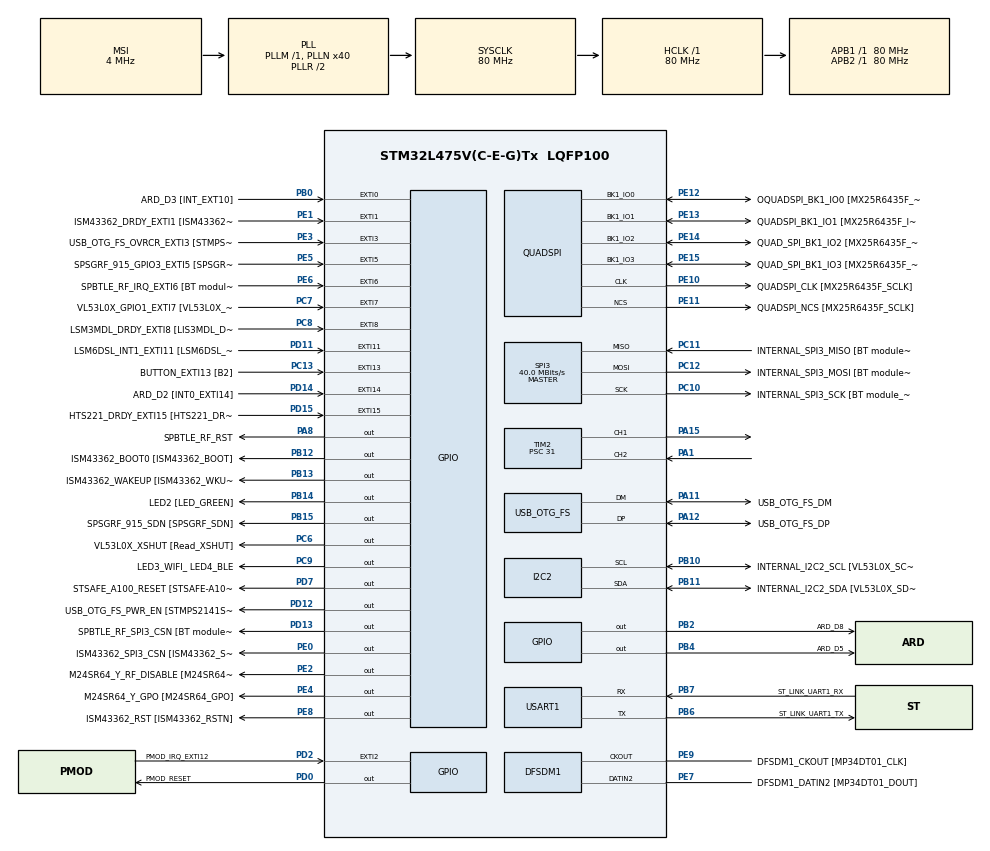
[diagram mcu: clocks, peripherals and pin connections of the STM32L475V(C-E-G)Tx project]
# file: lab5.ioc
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I2C2.Timing=0x10D19CE4
Mcu.Family=STM32L4
Mcu.Name=STM32L475V(C-E-G)Tx
Mcu.Package=LQFP100
NVIC.EXTI15_10_IRQn=true\:0\:0\:false\:false\:true\:true\:true\:true
NVIC.EXTI9_5_IRQn=true\:0\:0\:false\:false\:true\:true\:true\:true
NVIC.PriorityGroup=NVIC_PRIORITYGROUP_4
NVIC.TIM2_IRQn=true\:0\:0\:false\:false\:true\:true\:true\:true
PA1.Signal=S_TIM2_CH2
PA10.GPIO_Label=USB_OTG_FS_ID
PA10.Signal=USB_OTG_FS_ID
PA11.GPIO_Label=USB_OTG_FS_DM
PA11.Mode=Device_Only
PA11.Signal=USB_OTG_FS_DM
PA12.GPIO_Label=USB_OTG_FS_DP
PA12.Mode=Device_Only
PA12.Signal=USB_OTG_FS_DP
PA13\ (JTMS-SWDIO).GPIO_Label=SYS_JTMS_SWDIO
PA13\ (JTMS-SWDIO).Mode=Serial_Wire
PA13\ (JTMS-SWDIO).Signal=SYS_JTMS-SWDIO
PA14\ (JTCK-SWCLK).GPIO_Label=SYS_JTCK_SWCLK
PA14\ (JTCK-SWCLK).Mode=Serial_Wire
PA14\ (JTCK-SWCLK).Signal=SYS_JTCK-SWCLK
PA15\ (JTDI).Signal=S_TIM2_CH1
PA2.GPIO_Label=PMOD_UART2_TX
PA2.Signal=USART2_TX
PA3.GPIO_Label=PMOD_UART2_RX
PA3.Signal=USART2_RX
PA4.Signal=USART2_CK
PA6.GPIO_Label=ARD_D12 [SPI1_MISO]
PA6.Signal=SPI1_MISO
PA7.GPIO_Label=ARD_D11 [SPI1_MOSI]
PA7.Signal=SPI1_MOSI
PA8.GPIO_Label=SPBTLE_RF_RST
PA8.Signal=GPIO_Output
PA9.GPIO_Label=USB_OTG_FS_VBUS [STMPS2141STR_OUT]
PA9.Signal=USB_OTG_FS_VBUS
PB0.GPIO_Label=ARD_D3 [INT_EXT10]
PB0.Signal=GPXTI0
PB1.GPIO_Label=ARD_D6 [ADC1_IN6]
PB1.Signal=ADCx_IN16
PB10.GPIO_Label=INTERNAL_I2C2_SCL [VL53L0X_SCL]
PB10.GPIO_Pu=GPIO_PULLUP
PB10.Mode=I2C
PB10.Signal=I2C2_SCL
PB11.GPIO_Label=INTERNAL_I2C2_SDA [VL53L0X_SDA]
PB11.GPIO_Pu=GPIO_PULLUP
PB11.Mode=I2C
PB11.Signal=I2C2_SDA
PB12.GPIO_Label=ISM43362_BOOT0 [ISM43362_BOOT]
PB12.Signal=GPIO_Output
PB13.GPIO_Label=ISM43362_WAKEUP [ISM43362_WKUP]
PB13.Signal=GPIO_Output
PB14.GPIO_Label=LED2 [LED_GREEN]
PB14.Signal=GPIO_Output
PB15.GPIO_Label=SPSGRF_915_SDN [SPSGRF_SDN]
PB15.Signal=GPIO_Output
PB2.GPIO_Label=ARD_D8
PB2.Signal=GPIO_Output
PB3\ (JTDO-TRACESWO).GPIO_Label=SYS_JTD0_SWO
PB3\ (JTDO-TRACESWO).Signal=SYS_JTDO-SWO
PB4\ (NJTRST).GPIO_Label=ARD_D5
PB4\ (NJTRST).Signal=GPIO_Output
PB5.Signal=USART1_CK
PB6.GPIO_Label=ST_LINK_UART1_TX
PB6.Mode=Asynchronous
PB6.Signal=USART1_TX
PB7.GPIO_Label=ST_LINK_UART1_RX
PB7.Mode=Asynchronous
PB7.Signal=USART1_RX
PB8.GPIO_Label=ARD_D15 [I2C1_SCL]
PB8.Signal=I2C1_SCL
PB9.GPIO_Label=ARD_D14 [I2C1_SDA]
PB9.Signal=I2C1_SDA
PC0.GPIO_Label=ARD_A5 [ADC]
PC0.Signal=ADCx_IN1
PC1.GPIO_Label=ARD_A4 [ADC]
PC1.Signal=ADCx_IN2
PC10.GPIO_Label=INTERNAL_SPI3_SCK [BT module_SPI_SCLK] [ISM43362_SCK]
PC10.Mode=Full_Duplex_Master
PC10.Signal=SPI3_SCK
PC11.GPIO_Label=INTERNAL_SPI3_MISO [BT module_SPI_MISO] [ISM43362_MISO]
PC11.Mode=Full_Duplex_Master
PC11.Signal=SPI3_MISO
PC12.GPIO_Label=INTERNAL_SPI3_MOSI [BT module_SPI_MOSI] [ISM43362_MOSI]
PC12.Mode=Full_Duplex_Master
PC12.Signal=SPI3_MOSI
PC13.GPIO_Label=BUTTON_EXTI13 [B2]
PC13.GPIO_ModeDefaultEXTI=GPIO_MODE_IT_FALLING
PC13.Signal=GPXTI13
PC14-OSC32_IN\ (PC14).Mode=LSE-External-Oscillator
PC14-OSC32_IN\ (PC14).Signal=RCC_OSC32_IN
PC15-OSC32_OUT\ (PC15).Mode=LSE-External-Oscillator
PC15-OSC32_OUT\ (PC15).Signal=RCC_OSC32_OUT
PC2.GPIO_Label=ARD_A3 [ADC]
PC2.Signal=ADCx_IN3
PC3.GPIO_Label=ARD_A2 [ADC]
PC3.Signal=ADCx_IN4
PC4.GPIO_Label=ARD_A1 [ADC]
PC4.Signal=ADCx_IN13
PC5.GPIO_Label=ARD_A0 [ADC]
PC5.Signal=ADCx_IN14
PC6.GPIO_Label=VL53L0X_XSHUT [Read_XSHUT]
PC6.Signal=GPIO_Output
PC7.GPIO_Label=VL53L0X_GPIO1_EXTI7 [VL53L0X_GPIO1]
PC7.Signal=GPXTI7
PC8.GPIO_Label=LSM3MDL_DRDY_EXTI8 [LIS3MDL_DRDY]
PC8.Signal=GPXTI8
PC9.GPIO_Label=LED3_WIFI_ LED4_BLE
PC9.Signal=GPIO_Output
PD0.GPIO_Label=PMOD_RESET
PD0.Signal=GPIO_Output
PD1.GPIO_Label=PMOD_SPI2_SCK
PD1.Signal=SPI2_SCK
PD10.Signal=USART3_CK
PD11.GPIO_Label=LSM6DSL_INT1_EXTI11 [LSM6DSL_INT1]
PD11.Signal=GPXTI11
PD12.GPIO_Label=USB_OTG_FS_PWR_EN [STMPS2141STR_EN]
PD12.Signal=GPIO_Output
PD13.GPIO_Label=SPBTLE_RF_SPI3_CSN [BT module_SPI_CS]
PD13.PinState=GPIO_PIN_SET
PD13.Signal=GPIO_Output
PD14.GPIO_Label=ARD_D2 [INT0_EXTI14]
PD14.Signal=GPXTI14
PD15.GPIO_Label=HTS221_DRDY_EXTI15 [HTS221_DRDY]
PD15.Signal=GPXTI15
PD2.GPIO_Label=PMOD_IRQ_EXTI12
PD2.Signal=GPXTI2
PD3.GPIO_Label=PMOD_UART2_CTS
PD3.Signal=USART2_CTS
PD4.Signal=USART2_DE
PD7.GPIO_Label=STSAFE_A100_RESET [STSAFE-A100_RESET]
PD7.Signal=GPIO_Output
PD8.GPIO_Label=INTERNAL_UART3_TX [ISM43362_RX]
PD8.Signal=USART3_TX
PD9.GPIO_Label=INTERNAL_UART3_RX [ISM43362_TX]
PD9.Signal=USART3_RX
PE0.GPIO_Label=ISM43362_SPI3_CSN [ISM43362_SSN]
PE0.PinState=GPIO_PIN_SET
PE0.Signal=GPIO_Output
PE1.GPIO_Label=ISM43362_DRDY_EXTI1 [ISM43362_DATARDY]
PE1.Signal=GPXTI1
PE10.GPIO_Label=QUADSPI_CLK [MX25R6435F_SCLK]
PE10.Mode=Single Bank
PE10.Signal=QUADSPI_CLK
PE11.GPIO_Label=QUADSPI_NCS [MX25R6435F_SCLK]
PE11.Mode=Single Bank
PE11.Signal=QUADSPI_NCS
PE12.GPIO_Label=OQUADSPI_BK1_IO0 [MX25R6435F_IO0]
PE12.Mode=Single Bank
PE12.Signal=QUADSPI_BK1_IO0
PE13.GPIO_Label=QUADSPI_BK1_IO1 [MX25R6435F_IO1]
PE13.Mode=Single Bank
PE13.Signal=QUADSPI_BK1_IO1
PE14.GPIO_Label=QUAD_SPI_BK1_IO2 [MX25R6435F_IO2]
PE14.Mode=Single Bank
PE14.Signal=QUADSPI_BK1_IO2
PE15.GPIO_Label=QUAD_SPI_BK1_IO3 [MX25R6435F_IO3]
PE15.Mode=Single Bank
PE15.Signal=QUADSPI_BK1_IO3
PE2.GPIO_Label=M24SR64_Y_RF_DISABLE [M24SR64_RFDIS]
PE2.Signal=GPIO_Output
PE3.GPIO_Label=USB_OTG_FS_OVRCR_EXTI3 [STMPS2141STR_FAULT]
PE3.Signal=GPXTI3
PE4.GPIO_Label=M24SR64_Y_GPO [M24SR64_GPO]
PE4.Signal=GPIO_Output
PE5.GPIO_Label=SPSGRF_915_GPIO3_EXTI5 [SPSGRF_GPIO_3]
PE5.Signal=GPXTI5
PE6.GPIO_Label=SPBTLE_RF_IRQ_EXTI6 [BT module_SPI_IRQ]
PE6.Signal=GPXTI6
PE7.GPIO_Label=DFSDM1_DATIN2 [MP34DT01_DOUT]
PE7.Signal=S_DATAIN2DFSDM1
PE8.GPIO_Label=ISM43362_RST [ISM43362_RSTN]
PE8.Signal=GPIO_Output
PE9.GPIO_Label=DFSDM1_CKOUT [MP34DT01_CLK]
PE9.Signal=S_CKOUTDFSDM1
ProjectManager.HeapSize=0x200
ProjectManager.StackSize=0x400
ProjectManager.TargetToolchain=STM32CubeIDE
QUADSPI.ClockPrescaler=2
QUADSPI.FifoThreshold=4
QUADSPI.FlashSize=23
QUADSPI.SampleShifting=QSPI_SAMPLE_SHIFTING_HALFCYCLE
RCC.ADCFreq_Value=48000000
RCC.AHBFreq_Value=80000000
RCC.APB1Freq_Value=80000000
RCC.APB1TimFreq_Value=80000000
RCC.APB2Freq_Value=80000000
RCC.APB2TimFreq_Value=80000000
RCC.CortexFreq_Value=80000000
RCC.HCLKFreq_Value=80000000
RCC.HSE_VALUE=8000000
RCC.HSI_VALUE=16000000
RCC.MSI_VALUE=4000000
RCC.PLLN=40
RCC.PLLSAI1N=24
RCC.SYSCLKFreq_VALUE=80000000
RCC.SYSCLKSource=RCC_SYSCLKSOURCE_PLLCLK
RCC.USBFreq_Value=48000000
RCC.VCOOutputFreq_Value=160000000
SH.ADCx_IN1.0=ADC1_IN1
SH.ADCx_IN13.0=ADC1_IN13
SH.ADCx_IN14.0=ADC1_IN14
SH.ADCx_IN16.0=ADC1_IN16
SH.ADCx_IN2.0=ADC1_IN2
SH.ADCx_IN3.0=ADC1_IN3
SH.ADCx_IN4.0=ADC1_IN4
SH.S_CKOUTDFSDM1.0=DFSDM1_CKOUT,CKOUT
SH.S_CKOUTDFSDM1.1=DFSDM1_CKOUT,PDM_SPI_Input_from_ch12_and_Internal_Clock
SH.S_DATAIN2DFSDM1.0=DFSDM1_DATIN2,PDM_SPI_Input_from_ch12_and_Internal_Clock
SH.S_TIM2_CH1.0=TIM2_CH1,PWM Generation1 CH1
SH.S_TIM2_CH2.0=TIM2_CH2,TriggerSource_TI2FP2
SH.S_TIM2_CH2.1=TIM2_CH2,Input_Capture2_from_TI2
SPI3.CalculateBaudRate=40.0 MBits/s
SPI3.Direction=SPI_DIRECTION_2LINES
SPI3.Mode=SPI_MODE_MASTER
SPI3.VirtualType=VM_MASTER
TIM2.AutoReloadPreload=TIM_AUTORELOAD_PRELOAD_DISABLE
TIM2.Channel-Input_Capture2_from_TI2=TIM_CHANNEL_2
TIM2.Channel-PWM\ Generation1\ CH1=TIM_CHANNEL_1
TIM2.Period=999999
TIM2.Prescaler=31
TIM2.Pulse-PWM\ Generation1\ CH1=499999
USART1.VirtualMode-Asynchronous=VM_ASYNC
USB_OTG_FS.VirtualMode=Device_Only
VP_TIM2_VS_ClockSourceINT.Mode=Internal
VP_TIM2_VS_ControllerModeReset.Mode=Reset Mode
board=B-L475E-IOT01A1

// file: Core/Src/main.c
/* USER CODE BEGIN Header */
/**
  ******************************************************************************
  * @file           : main.c
  * @brief          : Main program body
  ******************************************************************************
  * @attention
  *
  * Copyright (c) 2025 STMicroelectronics.
  * All rights reserved.
  *
  * This software is licensed under terms that can be found in the LICENSE file
  * in the root directory of this software component.
  * If no LICENSE file comes with this software, it is provided AS-IS.
  *
  ******************************************************************************
  */
/* USER CODE END Header */
#include "main.h"

/* USER CODE BEGIN Includes */
#include "stdio.h"
#include "string.h"
/* USER CODE END Includes */

DFSDM_Channel_HandleTypeDef hdfsdm1_channel1;

I2C_HandleTypeDef hi2c2;

QSPI_HandleTypeDef hqspi;

SPI_HandleTypeDef hspi3;

TIM_HandleTypeDef htim2;

UART_HandleTypeDef huart1;

PCD_HandleTypeDef hpcd_USB_OTG_FS;

void SystemClock_Config(void);
static void MX_GPIO_Init(void);
static void MX_DFSDM1_Init(void);
static void MX_I2C2_Init(void);
static void MX_QUADSPI_Init(void);
static void MX_SPI3_Init(void);
static void MX_USB_OTG_FS_PCD_Init(void);
static void MX_TIM2_Init(void);
static void MX_USART1_UART_Init(void);

/* USER CODE BEGIN 0 */
int _write(int file, char *ptr, int len)
{
  HAL_UART_Transmit(&huart1, (uint8_t*)ptr, len, HAL_MAX_DELAY);
  return len;
}
/* USER CODE END 0 */

int main(void)
{

  /* MCU Configuration--------------------------------------------------------*/

  /* Reset of all peripherals, Initializes the Flash interface and the Systick. */
  HAL_Init();

  /* Configure the system clock */
  SystemClock_Config();

  /* Initialize all configured peripherals */
  MX_GPIO_Init();
  MX_DFSDM1_Init();
  MX_I2C2_Init();
  MX_QUADSPI_Init();
  MX_SPI3_Init();
  MX_USB_OTG_FS_PCD_Init();
  MX_TIM2_Init();
  MX_USART1_UART_Init();
  /* USER CODE BEGIN 2 */
  setvbuf(stdout, NULL, _IONBF, 0);

  HAL_TIM_PWM_Start(&htim2, TIM_CHANNEL_1);
  HAL_TIM_IC_Start_IT(&htim2, TIM_CHANNEL_2);

  /* USER CODE END 2 */

  /* Infinite loop */
  while (1)
  {

  }
}

void SystemClock_Config(void)
{
  RCC_OscInitTypeDef RCC_OscInitStruct = {0};
  RCC_ClkInitTypeDef RCC_ClkInitStruct = {0};

  /** Configure the main internal regulator output voltage
  */
  if (HAL_PWREx_ControlVoltageScaling(PWR_REGULATOR_VOLTAGE_SCALE1) != HAL_OK)
  {
    Error_Handler();
  }

  /** Configure LSE Drive Capability
  */
  HAL_PWR_EnableBkUpAccess();
  __HAL_RCC_LSEDRIVE_CONFIG(RCC_LSEDRIVE_LOW);

  /** Initializes the RCC Oscillators according to the specified parameters
  * in the RCC_OscInitTypeDef structure.
  */
  RCC_OscInitStruct.OscillatorType = RCC_OSCILLATORTYPE_LSE|RCC_OSCILLATORTYPE_MSI;
  RCC_OscInitStruct.LSEState = RCC_LSE_ON;
  RCC_OscInitStruct.MSIState = RCC_MSI_ON;
  RCC_OscInitStruct.MSICalibrationValue = 0;
  RCC_OscInitStruct.MSIClockRange = RCC_MSIRANGE_6;
  RCC_OscInitStruct.PLL.PLLState = RCC_PLL_ON;
  RCC_OscInitStruct.PLL.PLLSource = RCC_PLLSOURCE_MSI;
  RCC_OscInitStruct.PLL.PLLM = 1;
  RCC_OscInitStruct.PLL.PLLN = 40;
  RCC_OscInitStruct.PLL.PLLP = RCC_PLLP_DIV7;
  RCC_OscInitStruct.PLL.PLLQ = RCC_PLLQ_DIV2;
  RCC_OscInitStruct.PLL.PLLR = RCC_PLLR_DIV2;
  if (HAL_RCC_OscConfig(&RCC_OscInitStruct) != HAL_OK)
  {
    Error_Handler();
  }

  /** Initializes the CPU, AHB and APB buses clocks
  */
  RCC_ClkInitStruct.ClockType = RCC_CLOCKTYPE_HCLK|RCC_CLOCKTYPE_SYSCLK
                              |RCC_CLOCKTYPE_PCLK1|RCC_CLOCKTYPE_PCLK2;
  RCC_ClkInitStruct.SYSCLKSource = RCC_SYSCLKSOURCE_PLLCLK;
  RCC_ClkInitStruct.AHBCLKDivider = RCC_SYSCLK_DIV1;
  RCC_ClkInitStruct.APB1CLKDivider = RCC_HCLK_DIV1;
  RCC_ClkInitStruct.APB2CLKDivider = RCC_HCLK_DIV1;

  if (HAL_RCC_ClockConfig(&RCC_ClkInitStruct, FLASH_LATENCY_4) != HAL_OK)
  {
    Error_Handler();
  }

  /** Enable MSI Auto calibration
  */
  HAL_RCCEx_EnableMSIPLLMode();
}

static void MX_DFSDM1_Init(void)
{

  hdfsdm1_channel1.Instance = DFSDM1_Channel1;
  hdfsdm1_channel1.Init.OutputClock.Activation = ENABLE;
  hdfsdm1_channel1.Init.OutputClock.Selection = DFSDM_CHANNEL_OUTPUT_CLOCK_SYSTEM;
  hdfsdm1_channel1.Init.OutputClock.Divider = 2;
  hdfsdm1_channel1.Init.Input.Multiplexer = DFSDM_CHANNEL_EXTERNAL_INPUTS;
  hdfsdm1_channel1.Init.Input.DataPacking = DFSDM_CHANNEL_STANDARD_MODE;
  hdfsdm1_channel1.Init.Input.Pins = DFSDM_CHANNEL_FOLLOWING_CHANNEL_PINS;
  hdfsdm1_channel1.Init.SerialInterface.Type = DFSDM_CHANNEL_SPI_RISING;
  hdfsdm1_channel1.Init.SerialInterface.SpiClock = DFSDM_CHANNEL_SPI_CLOCK_INTERNAL;
  hdfsdm1_channel1.Init.Awd.FilterOrder = DFSDM_CHANNEL_FASTSINC_ORDER;
  hdfsdm1_channel1.Init.Awd.Oversampling = 1;
  hdfsdm1_channel1.Init.Offset = 0;
  hdfsdm1_channel1.Init.RightBitShift = 0x00;
  if (HAL_DFSDM_ChannelInit(&hdfsdm1_channel1) != HAL_OK)
  {
    Error_Handler();
  }

}

static void MX_I2C2_Init(void)
{

  hi2c2.Instance = I2C2;
  hi2c2.Init.Timing = 0x10D19CE4;
  hi2c2.Init.OwnAddress1 = 0;
  hi2c2.Init.AddressingMode = I2C_ADDRESSINGMODE_7BIT;
  hi2c2.Init.DualAddressMode = I2C_DUALADDRESS_DISABLE;
  hi2c2.Init.OwnAddress2 = 0;
  hi2c2.Init.OwnAddress2Masks = I2C_OA2_NOMASK;
  hi2c2.Init.GeneralCallMode = I2C_GENERALCALL_DISABLE;
  hi2c2.Init.NoStretchMode = I2C_NOSTRETCH_DISABLE;
  if (HAL_I2C_Init(&hi2c2) != HAL_OK)
  {
    Error_Handler();
  }

  /** Configure Analogue filter
  */
  if (HAL_I2CEx_ConfigAnalogFilter(&hi2c2, I2C_ANALOGFILTER_ENABLE) != HAL_OK)
  {
    Error_Handler();
  }

  /** Configure Digital filter
  */
  if (HAL_I2CEx_ConfigDigitalFilter(&hi2c2, 0) != HAL_OK)
  {
    Error_Handler();
  }

}

static void MX_QUADSPI_Init(void)
{

  /* QUADSPI parameter configuration*/
  hqspi.Instance = QUADSPI;
  hqspi.Init.ClockPrescaler = 2;
  hqspi.Init.FifoThreshold = 4;
  hqspi.Init.SampleShifting = QSPI_SAMPLE_SHIFTING_HALFCYCLE;
  hqspi.Init.FlashSize = 23;
  hqspi.Init.ChipSelectHighTime = QSPI_CS_HIGH_TIME_1_CYCLE;
  hqspi.Init.ClockMode = QSPI_CLOCK_MODE_0;
  if (HAL_QSPI_Init(&hqspi) != HAL_OK)
  {
    Error_Handler();
  }

}

static void MX_SPI3_Init(void)
{

  /* SPI3 parameter configuration*/
  hspi3.Instance = SPI3;
  hspi3.Init.Mode = SPI_MODE_MASTER;
  hspi3.Init.Direction = SPI_DIRECTION_2LINES;
  hspi3.Init.DataSize = SPI_DATASIZE_4BIT;
  hspi3.Init.CLKPolarity = SPI_POLARITY_LOW;
  hspi3.Init.CLKPhase = SPI_PHASE_1EDGE;
  hspi3.Init.NSS = SPI_NSS_SOFT;
  hspi3.Init.BaudRatePrescaler = SPI_BAUDRATEPRESCALER_2;
  hspi3.Init.FirstBit = SPI_FIRSTBIT_MSB;
  hspi3.Init.TIMode = SPI_TIMODE_DISABLE;
  hspi3.Init.CRCCalculation = SPI_CRCCALCULATION_DISABLE;
  hspi3.Init.CRCPolynomial = 7;
  hspi3.Init.CRCLength = SPI_CRC_LENGTH_DATASIZE;
  hspi3.Init.NSSPMode = SPI_NSS_PULSE_ENABLE;
  if (HAL_SPI_Init(&hspi3) != HAL_OK)
  {
    Error_Handler();
  }

}

static void MX_TIM2_Init(void)
{

  TIM_ClockConfigTypeDef sClockSourceConfig = {0};
  TIM_SlaveConfigTypeDef sSlaveConfig = {0};
  TIM_MasterConfigTypeDef sMasterConfig = {0};
  TIM_OC_InitTypeDef sConfigOC = {0};
  TIM_IC_InitTypeDef sConfigIC = {0};

  htim2.Instance = TIM2;
  htim2.Init.Prescaler = 31;
  htim2.Init.CounterMode = TIM_COUNTERMODE_UP;
  htim2.Init.Period = 999999;
  htim2.Init.ClockDivision = TIM_CLOCKDIVISION_DIV1;
  htim2.Init.AutoReloadPreload = TIM_AUTORELOAD_PRELOAD_DISABLE;
  if (HAL_TIM_Base_Init(&htim2) != HAL_OK)
  {
    Error_Handler();
  }
  sClockSourceConfig.ClockSource = TIM_CLOCKSOURCE_INTERNAL;
  if (HAL_TIM_ConfigClockSource(&htim2, &sClockSourceConfig) != HAL_OK)
  {
    Error_Handler();
  }
  if (HAL_TIM_PWM_Init(&htim2) != HAL_OK)
  {
    Error_Handler();
  }
  if (HAL_TIM_IC_Init(&htim2) != HAL_OK)
  {
    Error_Handler();
  }
  sSlaveConfig.SlaveMode = TIM_SLAVEMODE_RESET;
  sSlaveConfig.InputTrigger = TIM_TS_TI2FP2;
  sSlaveConfig.TriggerPolarity = TIM_INPUTCHANNELPOLARITY_RISING;
  sSlaveConfig.TriggerFilter = 0;
  if (HAL_TIM_SlaveConfigSynchro(&htim2, &sSlaveConfig) != HAL_OK)
  {
    Error_Handler();
  }
  sMasterConfig.MasterOutputTrigger = TIM_TRGO_RESET;
  sMasterConfig.MasterSlaveMode = TIM_MASTERSLAVEMODE_DISABLE;
  if (HAL_TIMEx_MasterConfigSynchronization(&htim2, &sMasterConfig) != HAL_OK)
  {
    Error_Handler();
  }
  sConfigOC.OCMode = TIM_OCMODE_PWM1;
  sConfigOC.Pulse = 499999;
  sConfigOC.OCPolarity = TIM_OCPOLARITY_HIGH;
  sConfigOC.OCFastMode = TIM_OCFAST_DISABLE;
  if (HAL_TIM_PWM_ConfigChannel(&htim2, &sConfigOC, TIM_CHANNEL_1) != HAL_OK)
  {
    Error_Handler();
  }
  sConfigIC.ICPolarity = TIM_INPUTCHANNELPOLARITY_RISING;
  sConfigIC.ICSelection = TIM_ICSELECTION_DIRECTTI;
  sConfigIC.ICPrescaler = TIM_ICPSC_DIV1;
  sConfigIC.ICFilter = 0;
  if (HAL_TIM_IC_ConfigChannel(&htim2, &sConfigIC, TIM_CHANNEL_2) != HAL_OK)
  {
    Error_Handler();
  }
  HAL_TIM_MspPostInit(&htim2);

}

static void MX_USART1_UART_Init(void)
{

  huart1.Instance = USART1;
  huart1.Init.BaudRate = 115200;
  huart1.Init.WordLength = UART_WORDLENGTH_8B;
  huart1.Init.StopBits = UART_STOPBITS_1;
  huart1.Init.Parity = UART_PARITY_NONE;
  huart1.Init.Mode = UART_MODE_TX_RX;
  huart1.Init.HwFlowCtl = UART_HWCONTROL_NONE;
  huart1.Init.OverSampling = UART_OVERSAMPLING_16;
  huart1.Init.OneBitSampling = UART_ONE_BIT_SAMPLE_DISABLE;
  huart1.AdvancedInit.AdvFeatureInit = UART_ADVFEATURE_NO_INIT;
  if (HAL_UART_Init(&huart1) != HAL_OK)
  {
    Error_Handler();
  }

}

static void MX_USB_OTG_FS_PCD_Init(void)
{

  hpcd_USB_OTG_FS.Instance = USB_OTG_FS;
  hpcd_USB_OTG_FS.Init.dev_endpoints = 6;
  hpcd_USB_OTG_FS.Init.speed = PCD_SPEED_FULL;
  hpcd_USB_OTG_FS.Init.phy_itface = PCD_PHY_EMBEDDED;
  hpcd_USB_OTG_FS.Init.Sof_enable = DISABLE;
  hpcd_USB_OTG_FS.Init.low_power_enable = DISABLE;
  hpcd_USB_OTG_FS.Init.lpm_enable = DISABLE;
  hpcd_USB_OTG_FS.Init.battery_charging_enable = DISABLE;
  hpcd_USB_OTG_FS.Init.use_dedicated_ep1 = DISABLE;
  hpcd_USB_OTG_FS.Init.vbus_sensing_enable = DISABLE;
  if (HAL_PCD_Init(&hpcd_USB_OTG_FS) != HAL_OK)
  {
    Error_Handler();
  }

}

static void MX_GPIO_Init(void)
{
  GPIO_InitTypeDef GPIO_InitStruct = {0};

  /* GPIO Ports Clock Enable */
  __HAL_RCC_GPIOE_CLK_ENABLE();
  __HAL_RCC_GPIOC_CLK_ENABLE();
  __HAL_RCC_GPIOA_CLK_ENABLE();
  __HAL_RCC_GPIOB_CLK_ENABLE();
  __HAL_RCC_GPIOD_CLK_ENABLE();

  /*Configure GPIO pin Output Level */
  HAL_GPIO_WritePin(GPIOE, M24SR64_Y_RF_DISABLE_Pin|M24SR64_Y_GPO_Pin|ISM43362_RST_Pin, GPIO_PIN_RESET);

  /*Configure GPIO pin Output Level */
  HAL_GPIO_WritePin(GPIOB, ARD_D8_Pin|ISM43362_BOOT0_Pin|ISM43362_WAKEUP_Pin|LED2_Pin
                          |SPSGRF_915_SDN_Pin|ARD_D5_Pin, GPIO_PIN_RESET);

  /*Configure GPIO pin Output Level */
  HAL_GPIO_WritePin(GPIOD, USB_OTG_FS_PWR_EN_Pin|PMOD_RESET_Pin|STSAFE_A100_RESET_Pin, GPIO_PIN_RESET);

  /*Configure GPIO pin Output Level */
  HAL_GPIO_WritePin(SPBTLE_RF_SPI3_CSN_GPIO_Port, SPBTLE_RF_SPI3_CSN_Pin, GPIO_PIN_SET);

  /*Configure GPIO pin Output Level */
  HAL_GPIO_WritePin(GPIOC, VL53L0X_XSHUT_Pin|LED3_WIFI__LED4_BLE_Pin, GPIO_PIN_RESET);

  /*Configure GPIO pin Output Level */
  HAL_GPIO_WritePin(SPBTLE_RF_RST_GPIO_Port, SPBTLE_RF_RST_Pin, GPIO_PIN_RESET);

  /*Configure GPIO pin Output Level */
  HAL_GPIO_WritePin(ISM43362_SPI3_CSN_GPIO_Port, ISM43362_SPI3_CSN_Pin, GPIO_PIN_SET);

  /*Configure GPIO pins : M24SR64_Y_RF_DISABLE_Pin M24SR64_Y_GPO_Pin ISM43362_RST_Pin ISM43362_SPI3_CSN_Pin */
  GPIO_InitStruct.Pin = M24SR64_Y_RF_DISABLE_Pin|M24SR64_Y_GPO_Pin|ISM43362_RST_Pin|ISM43362_SPI3_CSN_Pin;
  GPIO_InitStruct.Mode = GPIO_MODE_OUTPUT_PP;
  GPIO_InitStruct.Pull = GPIO_NOPULL;
  GPIO_InitStruct.Speed = GPIO_SPEED_FREQ_LOW;
  HAL_GPIO_Init(GPIOE, &GPIO_InitStruct);

  /*Configure GPIO pins : USB_OTG_FS_OVRCR_EXTI3_Pin SPSGRF_915_GPIO3_EXTI5_Pin SPBTLE_RF_IRQ_EXTI6_Pin ISM43362_DRDY_EXTI1_Pin */
  GPIO_InitStruct.Pin = USB_OTG_FS_OVRCR_EXTI3_Pin|SPSGRF_915_GPIO3_EXTI5_Pin|SPBTLE_RF_IRQ_EXTI6_Pin|ISM43362_DRDY_EXTI1_Pin;
  GPIO_InitStruct.Mode = GPIO_MODE_IT_RISING;
  GPIO_InitStruct.Pull = GPIO_NOPULL;
  HAL_GPIO_Init(GPIOE, &GPIO_InitStruct);

  /*Configure GPIO pin : BUTTON_EXTI13_Pin */
  GPIO_InitStruct.Pin = BUTTON_EXTI13_Pin;
  GPIO_InitStruct.Mode = GPIO_MODE_IT_FALLING;
  GPIO_InitStruct.Pull = GPIO_NOPULL;
  HAL_GPIO_Init(BUTTON_EXTI13_GPIO_Port, &GPIO_InitStruct);

  /*Configure GPIO pins : ARD_A5_Pin ARD_A4_Pin ARD_A3_Pin ARD_A2_Pin
                           ARD_A1_Pin ARD_A0_Pin */
  GPIO_InitStruct.Pin = ARD_A5_Pin|ARD_A4_Pin|ARD_A3_Pin|ARD_A2_Pin
                          |ARD_A1_Pin|ARD_A0_Pin;
  GPIO_InitStruct.Mode = GPIO_MODE_ANALOG_ADC_CONTROL;
  GPIO_InitStruct.Pull = GPIO_NOPULL;
  HAL_GPIO_Init(GPIOC, &GPIO_InitStruct);

  /*Configure GPIO pins : PMOD_UART2_TX_Pin PMOD_UART2_RX_Pin PA4 */
  GPIO_InitStruct.Pin = PMOD_UART2_TX_Pin|PMOD_UART2_RX_Pin|GPIO_PIN_4;
  GPIO_InitStruct.Mode = GPIO_MODE_AF_PP;
  GPIO_InitStruct.Pull = GPIO_NOPULL;
  GPIO_InitStruct.Speed = GPIO_SPEED_FREQ_VERY_HIGH;
  GPIO_InitStruct.Alternate = GPIO_AF7_USART2;
  HAL_GPIO_Init(GPIOA, &GPIO_InitStruct);

  /*Configure GPIO pins : ARD_D12_Pin ARD_D11_Pin */
  GPIO_InitStruct.Pin = ARD_D12_Pin|ARD_D11_Pin;
  GPIO_InitStruct.Mode = GPIO_MODE_AF_PP;
  GPIO_InitStruct.Pull = GPIO_NOPULL;
  GPIO_InitStruct.Speed = GPIO_SPEED_FREQ_VERY_HIGH;
  GPIO_InitStruct.Alternate = GPIO_AF5_SPI1;
  HAL_GPIO_Init(GPIOA, &GPIO_InitStruct);

  /*Configure GPIO pin : ARD_D3_Pin */
  GPIO_InitStruct.Pin = ARD_D3_Pin;
  GPIO_InitStruct.Mode = GPIO_MODE_IT_RISING;
  GPIO_InitStruct.Pull = GPIO_NOPULL;
  HAL_GPIO_Init(ARD_D3_GPIO_Port, &GPIO_InitStruct);

  /*Configure GPIO pin : ARD_D6_Pin */
  GPIO_InitStruct.Pin = ARD_D6_Pin;
  GPIO_InitStruct.Mode = GPIO_MODE_ANALOG_ADC_CONTROL;
  GPIO_InitStruct.Pull = GPIO_NOPULL;
  HAL_GPIO_Init(ARD_D6_GPIO_Port, &GPIO_InitStruct);

  /*Configure GPIO pins : ARD_D8_Pin ISM43362_BOOT0_Pin ISM43362_WAKEUP_Pin LED2_Pin
                           SPSGRF_915_SDN_Pin ARD_D5_Pin */
  GPIO_InitStruct.Pin = ARD_D8_Pin|ISM43362_BOOT0_Pin|ISM43362_WAKEUP_Pin|LED2_Pin
                          |SPSGRF_915_SDN_Pin|ARD_D5_Pin;
  GPIO_InitStruct.Mode = GPIO_MODE_OUTPUT_PP;
  GPIO_InitStruct.Pull = GPIO_NOPULL;
  GPIO_InitStruct.Speed = GPIO_SPEED_FREQ_LOW;
  HAL_GPIO_Init(GPIOB, &GPIO_InitStruct);

  /*Configure GPIO pins : INTERNAL_UART3_TX_Pin INTERNAL_UART3_RX_Pin PD10 */
  GPIO_InitStruct.Pin = INTERNAL_UART3_TX_Pin|INTERNAL_UART3_RX_Pin|GPIO_PIN_10;
  GPIO_InitStruct.Mode = GPIO_MODE_AF_PP;
  GPIO_InitStruct.Pull = GPIO_NOPULL;
  GPIO_InitStruct.Speed = GPIO_SPEED_FREQ_VERY_HIGH;
  GPIO_InitStruct.Alternate = GPIO_AF7_USART3;
  HAL_GPIO_Init(GPIOD, &GPIO_InitStruct);

  /*Configure GPIO pins : LSM6DSL_INT1_EXTI11_Pin ARD_D2_Pin HTS221_DRDY_EXTI15_Pin PMOD_IRQ_EXTI12_Pin */
  GPIO_InitStruct.Pin = LSM6DSL_INT1_EXTI11_Pin|ARD_D2_Pin|HTS221_DRDY_EXTI15_Pin|PMOD_IRQ_EXTI12_Pin;
  GPIO_InitStruct.Mode = GPIO_MODE_IT_RISING;
  GPIO_InitStruct.Pull = GPIO_NOPULL;
  HAL_GPIO_Init(GPIOD, &GPIO_InitStruct);

  /*Configure GPIO pins : USB_OTG_FS_PWR_EN_Pin SPBTLE_RF_SPI3_CSN_Pin PMOD_RESET_Pin STSAFE_A100_RESET_Pin */
  GPIO_InitStruct.Pin = USB_OTG_FS_PWR_EN_Pin|SPBTLE_RF_SPI3_CSN_Pin|PMOD_RESET_Pin|STSAFE_A100_RESET_Pin;
  GPIO_InitStruct.Mode = GPIO_MODE_OUTPUT_PP;
  GPIO_InitStruct.Pull = GPIO_NOPULL;
  GPIO_InitStruct.Speed = GPIO_SPEED_FREQ_LOW;
  HAL_GPIO_Init(GPIOD, &GPIO_InitStruct);

  /*Configure GPIO pins : VL53L0X_XSHUT_Pin LED3_WIFI__LED4_BLE_Pin */
  GPIO_InitStruct.Pin = VL53L0X_XSHUT_Pin|LED3_WIFI__LED4_BLE_Pin;
  GPIO_InitStruct.Mode = GPIO_MODE_OUTPUT_PP;
  GPIO_InitStruct.Pull = GPIO_NOPULL;
  GPIO_InitStruct.Speed = GPIO_SPEED_FREQ_LOW;
  HAL_GPIO_Init(GPIOC, &GPIO_InitStruct);

  /*Configure GPIO pins : VL53L0X_GPIO1_EXTI7_Pin LSM3MDL_DRDY_EXTI8_Pin */
  GPIO_InitStruct.Pin = VL53L0X_GPIO1_EXTI7_Pin|LSM3MDL_DRDY_EXTI8_Pin;
  GPIO_InitStruct.Mode = GPIO_MODE_IT_RISING;
  GPIO_InitStruct.Pull = GPIO_NOPULL;
  HAL_GPIO_Init(GPIOC, &GPIO_InitStruct);

  /*Configure GPIO pin : SPBTLE_RF_RST_Pin */
  GPIO_InitStruct.Pin = SPBTLE_RF_RST_Pin;
  GPIO_InitStruct.Mode = GPIO_MODE_OUTPUT_PP;
  GPIO_InitStruct.Pull = GPIO_NOPULL;
  GPIO_InitStruct.Speed = GPIO_SPEED_FREQ_LOW;
  HAL_GPIO_Init(SPBTLE_RF_RST_GPIO_Port, &GPIO_InitStruct);

  /*Configure GPIO pin : PMOD_SPI2_SCK_Pin */
  GPIO_InitStruct.Pin = PMOD_SPI2_SCK_Pin;
  GPIO_InitStruct.Mode = GPIO_MODE_AF_PP;
  GPIO_InitStruct.Pull = GPIO_NOPULL;
  GPIO_InitStruct.Speed = GPIO_SPEED_FREQ_VERY_HIGH;
  GPIO_InitStruct.Alternate = GPIO_AF5_SPI2;
  HAL_GPIO_Init(PMOD_SPI2_SCK_GPIO_Port, &GPIO_InitStruct);

  /*Configure GPIO pins : PMOD_UART2_CTS_Pin PD4 */
  GPIO_InitStruct.Pin = PMOD_UART2_CTS_Pin|GPIO_PIN_4;
  GPIO_InitStruct.Mode = GPIO_MODE_AF_PP;
  GPIO_InitStruct.Pull = GPIO_NOPULL;
  GPIO_InitStruct.Speed = GPIO_SPEED_FREQ_VERY_HIGH;
  GPIO_InitStruct.Alternate = GPIO_AF7_USART2;
  HAL_GPIO_Init(GPIOD, &GPIO_InitStruct);

  /*Configure GPIO pins : ARD_D15_Pin ARD_D14_Pin */
  GPIO_InitStruct.Pin = ARD_D15_Pin|ARD_D14_Pin;
  GPIO_InitStruct.Mode = GPIO_MODE_AF_OD;
  GPIO_InitStruct.Pull = GPIO_NOPULL;
  GPIO_InitStruct.Speed = GPIO_SPEED_FREQ_VERY_HIGH;
  GPIO_InitStruct.Alternate = GPIO_AF4_I2C1;
  HAL_GPIO_Init(GPIOB, &GPIO_InitStruct);

  /* EXTI interrupt init*/
  HAL_NVIC_SetPriority(EXTI9_5_IRQn, 0, 0);
  HAL_NVIC_EnableIRQ(EXTI9_5_IRQn);

  HAL_NVIC_SetPriority(EXTI15_10_IRQn, 0, 0);
  HAL_NVIC_EnableIRQ(EXTI15_10_IRQn);

}

/* USER CODE BEGIN 4 */
void HAL_TIM_IC_CaptureCallback(TIM_HandleTypeDef *htim) {
    if (htim->Instance == TIM2 && htim->Channel == HAL_TIM_ACTIVE_CHANNEL_2) {
    	uint32_t val = HAL_TIM_ReadCapturedValue(htim, TIM_CHANNEL_1);
    	uint32_t pclk = HAL_RCC_GetPCLK1Freq();
    	uint32_t timer_tick_hz = pclk / (htim2.Init.Prescaler + 1U);
    	uint32_t freq = (val != 0U) ? (timer_tick_hz / val) : 0;
    	uint32_t now = HAL_GetTick();
        printf("TIM2 capture: capturedValue=%lu, freq=%lu Hz, timestemp=%lu\r\n", val, freq, now);
    }
}
/* USER CODE END 4 */

void Error_Handler(void)
{
  __disable_irq();
  while (1)
  {
  }
}
